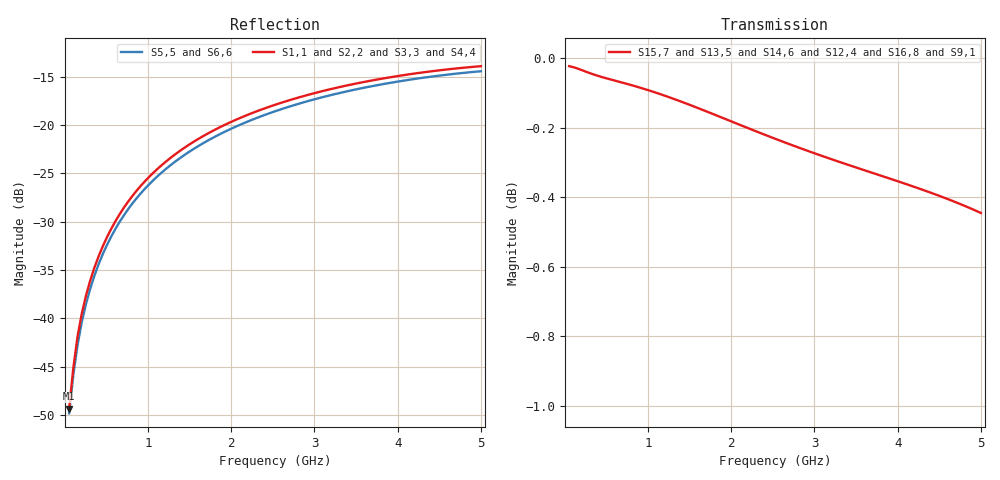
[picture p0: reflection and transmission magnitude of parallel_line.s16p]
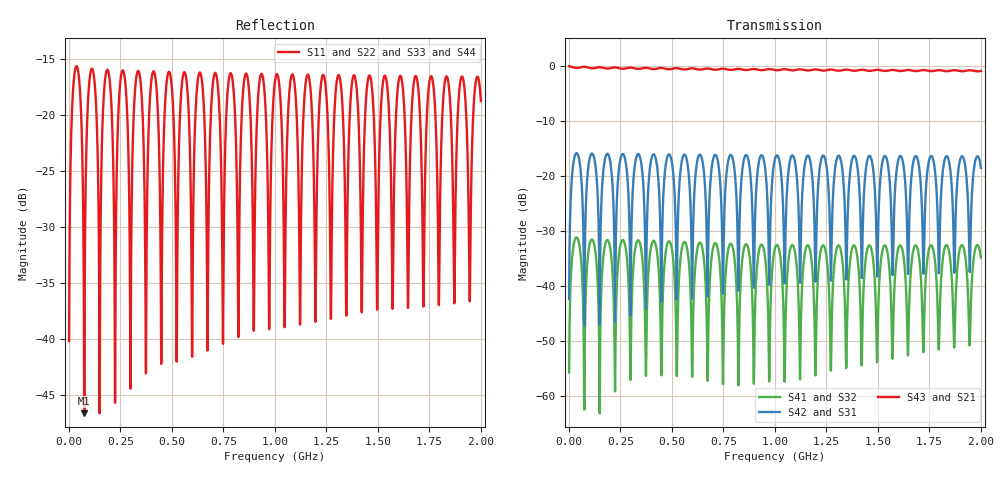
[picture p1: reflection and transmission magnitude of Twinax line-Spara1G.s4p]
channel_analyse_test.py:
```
import numpy as np
import matplotlib.pyplot as plt
from scipy import signal, interpolate
import skrf as rf
import math
import matplotlib
matplotlib.use('QtAgg')  # 使用Qt6兼容的后端


class ChannelImpulseAnalyzer:
    def __init__(self, data_rate, time_step, Num_UI=20):
        # ========= 基本参数 =========
        self.data_rate = data_rate
        self.UI = 1 / data_rate
        self.time_step = time_step
        self.sample_rate = 1 / time_step
        self.samples_per_symbol = int(round(self.UI / time_step))
        self.Num_UI = Num_UI

        # ========= FFT 点数（自动） =========
        N_fft_raw = self.Num_UI * self.samples_per_symbol
        self.N_fft = 2 ** math.ceil(math.log2(N_fft_raw))

        # ========= 坐标轴 =========
        self.time = np.arange(self.N_fft) * self.time_step
        self.freq = np.fft.rfftfreq(self.N_fft, d=self.time_step)

        # ========= 信道 =========
        self.H_freq = None
        self.h_time = None
        self.H_freq_rec = None

        # ========= 激励 =========
        self.trapezoidal_pulse = None
        self.pulse_time = None

        # ========= 响应 =========
        self.single_pulse_response = None
        self.response_time = None

        print("========== Analyzer Initialized ==========")
        print(f"Data rate           : {data_rate/1e9:.2f} Gbit/s")
        print(f"Sample rate         : {self.sample_rate/1e9:.2f} GHz")
        print(f"UI width            : {self.UI * 1e12:.2f} ps")
        print(f"Time step           : {time_step*1e12:.2f} ps")
        print(f"Samples / UI        : {self.samples_per_symbol}")
        print(f"FFT points          : {self.N_fft}")
        print(f"Analysis window     : {self.Num_UI} UI")
        print("==========================================")

    # =========================================================
    # 信道生成
    # =========================================================
    def generate_ideal_channel(self, delay=10e-12):
        self.H_freq = np.exp(-1j * 2 * np.pi * self.freq * delay)
        return self.H_freq

    def generate_lossy_channel(self,
                               loss_dc=0,
                               f_3db=20e9,
                               delay=10e-12):
        """
        loss_dc : DC loss in dB
        f_3db   : 3 dB bandwidth (first pole)
        delay   : pure delay
        """
        # === DC gain ===
        A_dc = 10 ** (-loss_dc / 20)
        # === First pole: defines 3 dB bandwidth ===
        H_p1 = 1.0 / np.sqrt(1 + (self.freq / f_3db) ** 2)
        # === Total magnitude response ===
        H_mag = A_dc * H_p1
        # === Pure delay ===
        H_delay = np.exp(-1j * 2 * np.pi * self.freq * delay)

        self.H_freq = H_mag * H_delay
        return self.H_freq

    def generate_tline_mm(self, Zc=50, Zref1=50, Zref2=50, length_mm=10.0, eps_eff=4.0, amp=1):
        """
        Transmission line channel based on ABCD matrix
        using engineering-friendly parameters.

        Parameters
        ----------
        Zc              : characteristic impedance (Ohm)
        Zref1, Zref2    : port reference impedances (Ohm)

        length_mm       : line length in mm
        eps_eff         : effective dielectric constant
        """

        # === 常量 ===
        c = 299792458.0  # m/s
        f = self.freq
        f_ghz = f/1e9

        # === 1. 衰减：dB/mm → Np ===
        a0 = 0.0  # dB/mm
        a1 = 0.02  # dB/mm / sqrt(GHz)
        a2 = 0.002 * 5  # dB/mm / GHz
        alpha_db_per_mm = a0 + amp*(a1 * np.sqrt(f_ghz) + a2 * f_ghz)
        alpha_db_eff = alpha_db_per_mm
        gamma = alpha_db_eff / 8.686  # Np

        # === 2. 相位常数 β ===
        vp = c / np.sqrt(eps_eff)
        length_m = length_mm * 1e-3
        beta = 2 * np.pi * f * length_m / vp

        # === 3. 复传播常数 ===
        Gamma = gamma + 1j * beta

        # === 4. ABCD 矩阵 ===
        A = np.cosh(Gamma)
        B = Zc * np.sinh(Gamma)
        C = (1 / Zc) * np.sinh(Gamma)
        D = np.cosh(Gamma)

        # === 5. ABCD → S21 ===
        denom = (A * Zref2 +
                 B +
                 C * Zref1 * Zref2 +
                 D * Zref1)

        self.H_freq = 2 * np.sqrt(Zref1 * Zref2) / denom
        return self.H_freq

    def load_sparam_channel(self, s_param_file, port_tx=1, port_rx=2):
        nw = rf.Network(s_param_file)
        freq_S = nw.f
        s21 = nw.s[:, port_rx - 1, port_tx - 1]

        mag_db = 20 * np.log10(np.abs(s21) + 1e-12)
        phase = np.unwrap(np.angle(s21))

        mag_i = interpolate.interp1d(freq_S, mag_db,
                                     bounds_error=False,
                                     fill_value='extrapolate')
        pha_i = interpolate.interp1d(freq_S, phase,
                                     bounds_error=False,
                                     fill_value='extrapolate')

        mag = 10 ** (mag_i(self.freq) / 20)
        self.H_freq = mag * np.exp(1j * pha_i(self.freq))
        return self.H_freq

    def generate_time_vtf(self):
        """
        Generate time-domain impulse response from frequency response.
        """
        if self.H_freq is None:
            raise RuntimeError(
                "[ChannelImpulseAnalyzer] H_freq is None.\n"
                "Please generate a channel first, e.g.:\n"
                "  - generate_ideal_channel()\n"
                "  - generate_lossy_channel()\n"
                "  - generate_tline_abcd_mm()\n"
                "  - load_sparam_channel()"
            )

        self.h_time = np.fft.irfft(self.H_freq, n=self.N_fft)
        self.H_freq_rec = np.fft.rfft(self.h_time)

    def generate_trapezoidal_pulse(self,
                                   rise_time_ps=10,
                                   fall_time_ps=10,
                                   delay_ps=100,
                                   pulse_width_UI=1):
        '''
        生成理想梯形单脉冲波形
        :param rise_time_ps:
        :param fall_time_ps:
        :param delay_ps:
        :param pulse_width_UI:
        :return:
        '''
        Ts = self.time_step

        rise_n = max(1, int(rise_time_ps * 1e-12 / Ts))
        fall_n = max(1, int(fall_time_ps * 1e-12 / Ts))
        width_n = int(pulse_width_UI * self.samples_per_symbol)
        delay_n = int(delay_ps * 1e-12 / Ts)

        roof_n = max(1, width_n - (rise_n + fall_n) // 2)

        pulse = np.zeros(rise_n + roof_n + fall_n)
        pulse[:rise_n] = np.linspace(0, 1, rise_n, endpoint=False)
        pulse[rise_n:rise_n + roof_n] = 1
        pulse[-fall_n:] = np.linspace(1, 0, fall_n)

        pulse_delayed = np.zeros(self.N_fft)
        pulse_delayed[delay_n:delay_n + len(pulse)] = pulse

        self.trapezoidal_pulse = pulse_delayed
        self.pulse_time = np.arange(self.N_fft) * Ts

    # =========================================================
    # 单脉冲响应
    # =========================================================
    def compute_single_pulse_response(self):
        if self.h_time is None:
            print("[Info] h_time not found, generating time-domain impulse response.")
            self.generate_time_vtf()
        self.single_pulse_response = signal.fftconvolve(
            self.trapezoidal_pulse,
            self.h_time
        )
        self.single_pulse_response = self.single_pulse_response[: self.N_fft]
        self.response_time = np.arange(len(self.single_pulse_response)) * self.time_step

    def compute_response_of_input(self, waveform_input):
        """
        Compute output response of an input waveform through the channel.
        """

        if self.h_time is None:
            print("[Info] h_time not found, generating time-domain impulse response.")
            self.generate_time_vtf()

        # === 卷积计算 ===
        response_output = signal.fftconvolve(
            waveform_input,
            self.h_time,
            mode='full'
        )

        # === 裁剪到输入长度（因果系统） ===
        data_length = len(waveform_input)
        response_output = response_output[:data_length]

        return response_output

    # =========================================================
    # UI 中心
    # =========================================================
    def find_ui_center(self):
        '''
        确定UI中心位置
        '''
        abs_resp = np.abs(self.single_pulse_response)
        peak_idx = np.argmax(abs_resp)
        half = abs_resp[peak_idx] / 2

        left = np.where(abs_resp[:peak_idx] < half)[0]
        right = np.where(abs_resp[peak_idx:] < half)[0]

        rise = left[-1] + 1
        fall = peak_idx + right[0]

        ui_mid = int((rise + fall) / 2)
        return ui_mid

    # =========================================================
    # 绘图（工程完整版）
    # =========================================================
    def plot_all(self, plot_span_ui=15):
        fig, axs = plt.subplots(2, 2, figsize=(16, 9))
        # === 幅度响应+3dB带宽点 ===
        # === 幅度（dB）===
        mag_rec_db = 20 * np.log10(np.abs(self.H_freq_rec))
        mag_db = 20 * np.log10(np.abs(self.H_freq) + 1e-20)
        mag_ref = np.max(mag_db)
        mag_3db = mag_ref - 3.0
        # === 找到首次跌破 3dB 的频点 ===
        idx_3db = np.where(mag_db <= mag_3db)[0]

        if len(idx_3db) > 0:
            idx_3db = idx_3db[0]
            f_3db = self.freq[idx_3db]
            # print(f"找到3 dB衰减频点：{f_3db / 1e9:.2f} GHz")
        else:
            f_3db = None
            # print(f"未找到3 dB衰减频点")
        print(f'mag_db= {mag_db[1]}')
        # axs[0, 0].semilogx(self.freq / 1e9, mag_db, label="Transfer Function")
        axs[0, 0].plot(self.freq / 1e9, mag_db, label="Transfer Function")
        axs[0, 0].plot(self.freq / 1e9, mag_rec_db, '--', label="TF from iFFT of impulse response")
        if f_3db is not None:
            axs[0, 0].axvline(f_3db / 1e9, color="r", linestyle="--")
            axs[0, 0].text(f_3db / 1e9, mag_3db*0.8, f" f_3dB={f_3db / 1e9:.2f} GHz", fontsize=11)
        axs[0, 0].set_title("Channel Magnitude Response")
        axs[0, 0].set_xlabel("Frequency (GHz)")
        axs[0, 0].set_ylabel("Magnitude (dB)")
        axs[0, 0].grid(True, alpha=0.3)
        axs[0, 0].legend()

        # === 相位响应 ===
        axs[0, 1].plot(self.freq / 1e9, np.angle(self.H_freq))
        axs[0, 1].set_title("Channel Phase Response")
        axs[0, 1].set_xlabel("Frequency (GHz)")
        axs[0, 1].set_ylabel("Phase (rad)")
        axs[0, 1].grid(True, alpha=0.3)

        # ==========时域波形及数据处理==================
        ui_center = self.find_ui_center()

        half_span_samp = plot_span_ui * self.samples_per_symbol // 2
        idx_start = max(0, ui_center - half_span_samp)
        idx_end = idx_start + plot_span_ui * self.samples_per_symbol
        t_start = self.time[idx_start] * 1e12
        t_end = self.time[idx_end] * 1e12
        print(f"Plot span       : {t_start} ~ {t_end} ps")
        # === 冲激响应 ===
        axs[1, 0].plot(self.time * 1e12, self.h_time)
        axs[1, 0].set_title("Impulse Response")
        axs[1, 0].set_xlabel("Time (ps)")
        axs[1, 0].set_ylabel("Amplitude")
        axs[1, 0].set_xlim(t_start, t_end)
        axs[1, 0].grid(True, alpha=0.3)

        # === 单脉冲响应 ===
        axs[1, 1].plot(self.response_time * 1e12, self.trapezoidal_pulse, '--', label="Input Pulse")
        axs[1, 1].plot(self.response_time * 1e12, self.single_pulse_response, label="Single Pulse Response")
        axs[1, 1].set_xlim(t_start, t_end)

        # UI 采样点
        num_pre = plot_span_ui//3
        num_post = plot_span_ui-num_pre-1
        # === 构造 UI indices（以 ui_center 为 main）===
        ui_indices = []

        # pre cursors
        for i in range(num_pre, 0, -1):
            idx = ui_center - i * self.samples_per_symbol
            if idx >= 0:
                ui_indices.append(idx)

        # main cursor
        ui_indices.append(ui_center)

        # post cursors
        for i in range(1, num_post + 1):
            idx = ui_center + i * self.samples_per_symbol
            if idx < len(self.single_pulse_response):
                ui_indices.append(idx)

        ui_indices = np.array(ui_indices, dtype=int)

        axs[1, 1].plot(
            self.response_time[ui_indices] * 1e12,
            self.single_pulse_response[ui_indices],
            'o',
            label="UI Sampling Points"
        )

        axs[1, 1].set_title("Single Pulse Response")
        axs[1, 1].set_xlabel("Time (ps)")
        axs[1, 1].set_ylabel("Amplitude")
        axs[1, 1].grid(True, alpha=0.3)
        axs[1, 1].legend()
        # 逐点标注（pre / main / post + 幅值）
        # === 选择文本锚点：post_cursor2 附近 ===
        anchor_offset = 2  # post_cursor2

        anchor_idx = ui_center + anchor_offset * self.samples_per_symbol
        anchor_idx = min(anchor_idx, len(self.single_pulse_response) - 1)

        x_text = self.response_time[anchor_idx] * 1e12
        y_min, y_max = axs[1, 1].get_ylim()
        y_text = y_max - 0.05 * (y_max - y_min)

        text_lines = []
        # 生成数据文本
        for idx in ui_indices:
            delta = (idx - ui_center) // self.samples_per_symbol
            val = self.single_pulse_response[idx]

            if delta == 0:
                name = "main"
            elif delta < 0:
                name = f"pre{abs(delta)}"
            else:
                name = f"post{delta}"

            text_lines.append(f"{name:>6s} : {val:.3f}")
        line_spacing = 0.06 * np.max(np.abs(self.single_pulse_response))
        # 打印文本
        axs[1, 1].text(
            x_text,
            y_text,
            "\n".join(text_lines),
            fontsize=11,
            ha="left",
            va="top",
            bbox=dict(facecolor="white", alpha=0.85, edgecolor="none")
        )

        plt.tight_layout()
        plt.show()


if __name__ == "__main__":
    plt.rcParams['font.sans-serif'] = ['SimHei', 'Microsoft YaHei', 'DejaVu Sans']
    plt.rcParams['axes.unicode_minus'] = False  # 解决负号显示问题

    channel = ChannelImpulseAnalyzer(
        data_rate=26e9,
        time_step=2e-12,
        Num_UI=30
    )
    s_param_file = 'C:/Users/33202/PycharmProjects/Quick_Sparam/samples/parallel_line.s16p'
    s_param_file1 = 'C:/Users/33202/PycharmProjects/Quick_Sparam/samples/Twinax line-Spara1G.s4p'
    # channel.load_sparam_channel(s_param_file, port_tx=3, port_rx=1)
    channel.generate_lossy_channel(loss_dc=0, f_3db=8e9, delay=100e-12)
    # channel.generate_ideal_channel(delay=100e-12)
    # channel.generate_tline_mm(Zc=50, length_mm=2, amp=10)


    channel.generate_trapezoidal_pulse(
        rise_time_ps=10,
        fall_time_ps=10,
        delay_ps=100,
        pulse_width_UI=1
    )

    channel.compute_single_pulse_response()
    channel.plot_all()
```
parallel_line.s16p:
! Touchstone file exported from HFSS 2019.1.0
!  File:  C:/Users/33202/Desktop/HFSS script/parallel line.aedt
!  Generated:  6:54:59 下午  5月 18, 2026
!  Design:  StackupDesign
!  Project:  parallel line
!  Setup:  Setup1
!  Solution:  Sweep
! Variables:
!  R_anti_pcb = 400um
!  R_bottom_anti = 450um
!  R_bottom_pad = 150um
!  R_core_anti = 180um
!  R_core_pad = 100um
!  R_core_via = 50um
!  R_micro_anti = 90um
!  R_micro_c_pad = 50um
!  R_micro_pad = 45um
!  R_micro_via = 30um
!  R_pad_pcb = 150um
!  R_via_pcb = 50um
!  diameter_bga = 300um
!  diameter_bga_top = 275um
!  gnd_via_gap = 2
!  layer_bottom_anti = 11
!  layer_core_lower_anti = 9
!  layer_core_upper_anti = 8
!  length_whole = 6000um
!  length_x = 3000um
!  pitch_bga_x = 600um
!  pitch_bga_y = 600um
!  position_L1 = position_L2+thick_L2+thick_dielectric_L1_L2
!  position_L10 = position_L11+thick_L11+thick_dielectric_L10_L11
!  position_L11 = position_L12+thick_L12+thick_dielectric_L11_L12
!  position_L12 = position_L13+thick_L13+thick_dielectric_L12_L13
!  position_L13 = position_L14+thick_L14+thick_dielectric_L13_L14
!  position_L14 = position_L15+thick_L15+thick_dielectric_L14_L15
!  position_L15 = position_L16+thick_L16+thick_dielectric_L15_L16
!  position_L16 = 0um
!  position_L2 = position_L3+thick_L3+thick_dielectric_L2_L3
!  position_L3 = position_L4+thick_L4+thick_dielectric_L3_L4
!  position_L4 = position_L5+thick_L5+thick_dielectric_L4_L5
!  position_L5 = position_L6+thick_L6+thick_dielectric_L5_L6
!  position_L6 = position_L7+thick_L7+thick_dielectric_L6_L7
!  position_L7 = position_L8+thick_L8+thick_dielectric_L7_L8
!  position_L8 = position_L9+thick_L9+thick_dielectric_L8_L9
!  position_L9 = position_L10+thick_L10+thick_dielectric_L9_L10
!  position_pcb_L1 = -thick_bga
!  position_pcb_L2 = position_pcb_L1+thick_pcb_L1+thick_pcb_dielectric_L1_L2
!  position_pcb_L3 = position_pcb_L2+thick_pcb_L2+thick_pcb_dielectric_L2_L3
!  position_pcb_L4 = position_pcb_L3+thick_pcb_L3+thick_pcb_dielectric_L3_L4
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# GHZ S MA R 50.000000
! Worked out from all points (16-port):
!   99 points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, 50.51 MHz to 5 GHz, reference 50 ohm
!   strongest paths, dB at 50.51 MHz, 1.263 GHz, 2.525 GHz, 3.788 GHz, 5 GHz:
!     S15,7: 0.0, -0.1, -0.2, -0.3, -0.4
!     S13,5: 0.0, -0.1, -0.2, -0.3, -0.5
!     S14,6: 0.0, -0.1, -0.2, -0.3, -0.5
!     S12,4: 0.0, -0.1, -0.3, -0.4, -0.5
!     S16,8: 0.0, -0.1, -0.3, -0.4, -0.5
!     S9,1: 0.0, -0.1, -0.3, -0.4, -0.5
!   lowest |S11| = -49.3 dB at 50.51 MHz (marker M1), VSWR 1.01, Z = 50.2 - j0.25 ohm
!   |S11| at or under -10 dB: start of sweep to end of sweep
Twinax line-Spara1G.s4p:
! TOUCHSTONE file generated by CST DESIGN STUDIO
! Date and time: Fri Sep 25 15:58:13 2020
! Project name: D:\¿ÆÑÐ¹¤×÷\mst-visit\CST\Twinax line-Spara1G.cst
! Tree item: Tasks\SPara1\S-Parameters
# MHZ S MA R 50
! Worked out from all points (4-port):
!   2000 points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, 1 MHz to 2 GHz, reference 50 ohm
!   strongest paths, dB at 1 MHz, 501 MHz, 1.001 GHz, 1.501 GHz, 2 GHz:
!     S43: 0.0, -0.5, -0.7, -0.7, -0.9
!     S21: 0.0, -0.5, -0.7, -0.7, -0.9
!     S42: -42.3, -17.7, -16.8, -30.2, -18.5
!     S31: -42.3, -17.7, -16.8, -30.2, -18.5
!     S41: -55.7, -33.5, -33.0, -45.2, -34.8
!     S32: -55.7, -33.5, -33.0, -45.2, -34.8
!   lowest |S11| = -46.7 dB at 74 MHz (marker M1), VSWR 1.01, Z = 50.3 - j0.356 ohm
!   |S11| at or under -10 dB: start of sweep to end of sweep
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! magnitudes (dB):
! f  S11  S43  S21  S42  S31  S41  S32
! 1 MHz  -40.2  0.0  0.0  -42.3  -42.3  -55.7  -55.7
! 74 MHz  -46.7  -0.1  -0.1  -46.6  -46.6  -60.8  -60.8
! 2 GHz  -18.7  -0.9  -0.9  -18.5  -18.5  -34.8  -34.8
